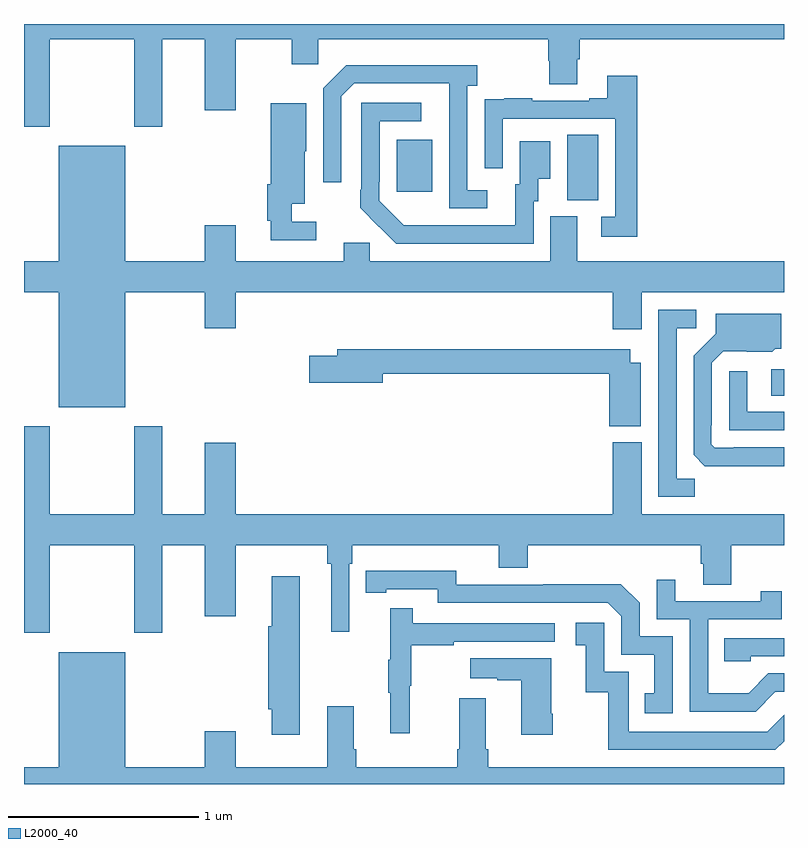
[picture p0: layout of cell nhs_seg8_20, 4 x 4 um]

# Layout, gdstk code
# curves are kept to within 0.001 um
import gdstk
lib = gdstk.Library(unit=1e-6, precision=1e-09)
def R(c, l, rs):  # rectangles x0, y0, x1, y1
    for r in rs: c.add(gdstk.rectangle(r[:2], r[2:], *l))
def P(c, l, *ps):  # polygons
    for p in ps: c.add(gdstk.Polygon(p, *l))
L2000_40 = (2000, 40)

nhs_seg8_20 = lib.new_cell('nhs_seg8_20')
R(nhs_seg8_20, L2000_40, [(114.933,1127.944,115,1128.084), (113.858,1128.973,114.022,1129.316), (112.961,1129.017,113.149,1129.291)])
P(nhs_seg8_20, L2000_40, [(111.135,1129.82),(111.58,1129.82),(111.58,1129.359),(111.727,1129.359),(111.727,1129.82),(111.95,1129.82),(111.95,1129.446),(112.114,1129.446),(112.114,1129.82),(112.409,1129.82),(112.409,1129.689),(112.548,1129.689),(112.548,1129.82),(113.759,1129.82),(113.759,1129.707),(113.764,1129.707),(113.764,1129.582),(113.911,1129.582),(113.911,1129.714),(113.924,1129.714),(113.924,1129.82),(115,1129.82),(115,1129.9),(111,1129.9),(111,1129.359),(111.135,1129.359)],
  [(113.437,1129.026),(113.334,1129.026),(113.334,1129.574),(113.386,1129.574),(113.386,1129.684),(112.696,1129.684),(112.575,1129.563),(112.575,1129.068),(112.671,1129.068),(112.671,1129.521),(112.737,1129.587),(113.237,1129.587),(113.238,1128.93),(113.437,1128.93)],
  [(114.227,1129.627),(114.071,1129.627),(114.071,1129.51),(113.975,1129.51),(113.975,1129.497),(113.675,1129.497),(113.675,1129.51),(113.527,1129.51),(113.527,1129.503),(113.425,1129.503),(113.425,1129.394),(113.424,1129.394),(113.424,1129.14),(113.52,1129.14),(113.52,1129.401),(114.111,1129.401),(114.111,1128.885),(114.039,1128.885),(114.039,1128.78),(114.227,1128.78)],
  [(113.682,1128.966),(113.707,1128.966),(113.707,1129.085),(113.77,1129.085),(113.77,1129.282),(113.609,1129.282),(113.609,1129.056),(113.585,1129.056),(113.585,1128.84),(112.998,1128.841),(112.869,1128.969),(112.869,1129.069),(112.872,1129.069),(112.872,1129.389),(113.092,1129.389),(113.092,1129.485),(112.776,1129.485),(112.776,1129.027),(112.769,1129.027),(112.769,1128.932),(112.866,1128.834),(112.867,1128.835),(112.958,1128.744),(113.682,1128.744)],
  [(112.537,1128.858),(112.408,1128.858),(112.408,1128.953),(112.477,1128.953),(112.477,1129.23),(112.486,1129.23),(112.486,1129.483),(112.298,1129.483),(112.298,1129.057),(112.279,1129.057),(112.279,1128.865),(112.298,1128.865),(112.298,1128.762),(112.537,1128.762)],
  [(111.532,1128.488),(111.95,1128.488),(111.95,1128.3),(112.114,1128.3),(112.114,1128.488),(114.098,1128.488),(114.098,1128.294),(114.25,1128.294),(114.25,1128.488),(115,1128.488),(115,1128.652),(113.911,1128.652),(113.911,1128.888),(113.771,1128.888),(113.771,1128.652),(112.821,1128.652),(112.821,1128.75),(112.682,1128.75),(112.682,1128.652),(112.114,1128.652),(112.114,1128.841),(111.95,1128.841),(111.95,1128.652),(111.532,1128.652),(111.532,1129.258),(111.182,1129.258),(111.182,1128.652),(111,1128.652),(111,1128.488),(111.182,1128.488),(111.182,1127.882),(111.532,1127.882)],
  [(114.531,1127.507),(114.435,1127.507),(114.435,1128.3),(114.538,1128.3),(114.538,1128.396),(114.339,1128.396),(114.339,1127.412),(114.531,1127.412)],
  [(115,1127.673),(114.736,1127.673),(114.736,1127.67),(114.636,1127.67),(114.618,1127.688),(114.618,1127.788),(114.621,1127.788),(114.621,1128.117),(114.681,1128.177),(114.938,1128.176),(114.954,1128.192),(114.985,1128.192),(114.985,1128.376),(114.641,1128.376),(114.641,1128.27),(114.525,1128.154),(114.525,1127.632),(114.584,1127.573),(115,1127.572)],
  [(114.247,1128.118),(114.19,1128.118),(114.19,1128.187),(112.649,1128.187),(112.649,1128.153),(112.5,1128.153),(112.5,1128.011),(112.888,1128.011),(112.888,1128.058),(114.08,1128.058),(114.08,1127.783),(114.247,1127.783)],
  [(115,1127.859),(114.807,1127.859),(114.807,1128.073),(114.711,1128.073),(114.711,1127.763),(115,1127.763)],
  [(111.135,1127.156),(111.58,1127.156),(111.58,1126.695),(111.727,1126.695),(111.727,1127.156),(111.95,1127.156),(111.95,1126.782),(112.114,1126.782),(112.114,1127.156),(112.597,1127.156),(112.597,1127.06),(112.616,1127.06),(112.616,1126.701),(112.713,1126.701),(112.713,1127.06),(112.727,1127.06),(112.727,1127.156),(113.498,1127.156),(113.498,1127.039),(113.651,1127.039),(113.651,1127.156),(114.563,1127.156),(114.563,1127.058),(114.575,1127.058),(114.575,1126.948),(114.723,1126.948),(114.723,1127.156),(115,1127.156),(115,1127.32),(114.25,1127.32),(114.25,1127.698),(114.098,1127.698),(114.098,1127.32),(112.114,1127.32),(112.114,1127.695),(111.95,1127.695),(111.95,1127.32),(111.727,1127.32),(111.727,1127.782),(111.58,1127.782),(111.58,1127.32),(111.135,1127.32),(111.135,1127.782),(111,1127.782),(111,1126.695),(111.135,1126.695)],
  [(114.414,1126.677),(114.24,1126.677),(114.24,1126.854),(114.142,1126.952),(113.734,1126.952),(113.734,1126.95),(113.274,1126.95),(113.274,1127.023),(112.798,1127.022),(112.798,1126.906),(112.906,1126.906),(112.906,1126.926),(113.178,1126.926),(113.178,1126.854),(114.072,1126.854),(114.144,1126.782),(114.144,1126.581),(114.317,1126.581),(114.317,1126.377),(114.268,1126.377),(114.268,1126.272),(114.414,1126.272)],
  [(112.45,1126.993),(112.304,1126.993),(112.304,1126.729),(112.286,1126.729),(112.286,1126.293),(112.304,1126.293),(112.304,1126.158),(112.45,1126.158)],
  [(114.955,1126.386),(115,1126.386),(115,1126.482),(114.918,1126.482),(114.814,1126.378),(114.6,1126.378),(114.6,1126.767),(114.989,1126.767),(114.989,1126.915),(114.878,1126.915),(114.878,1126.863),(114.427,1126.863),(114.427,1126.975),(114.33,1126.975),(114.33,1126.767),(114.504,1126.767),(114.504,1126.281),(114.85,1126.281)],
  [(113.03,1126.416),(113.038,1126.416),(113.038,1126.63),(113.261,1126.63),(113.261,1126.65),(113.794,1126.65),(113.794,1126.746),(113.045,1126.746),(113.045,1126.825),(112.928,1126.825),(112.928,1126.553),(112.917,1126.553),(112.917,1126.379),(112.928,1126.379),(112.928,1126.167),(113.03,1126.167)],
  [(115,1126.126),(115,1126.264),(114.912,1126.176),(114.183,1126.176),(114.183,1126.491),(114.054,1126.491),(114.054,1126.75),(113.904,1126.75),(113.904,1126.629),(113.957,1126.629),(113.957,1126.383),(114.075,1126.383),(114.075,1126.08),(114.954,1126.08)],
  [(114.825,1126.572),(115,1126.572),(115,1126.668),(114.685,1126.668),(114.685,1126.545),(114.825,1126.545)],
  [(115,1125.988),(113.444,1125.988),(113.444,1126.084),(113.431,1126.084),(113.431,1126.351),(113.291,1126.351),(113.291,1126.084),(113.279,1126.084),(113.279,1125.988),(112.748,1125.988),(112.748,1126.084),(112.735,1126.084),(112.735,1126.309),(112.595,1126.309),(112.595,1125.988),(112.114,1125.988),(112.114,1126.177),(111.95,1126.177),(111.95,1125.988),(111.532,1125.988),(111.532,1126.594),(111.182,1126.594),(111.182,1125.988),(111,1125.988),(111,1125.9),(115,1125.9)],
  [(113.784,1126.27),(113.776,1126.27),(113.776,1126.561),(113.349,1126.561),(113.349,1126.457),(113.492,1126.457),(113.492,1126.447),(113.618,1126.447),(113.618,1126.158),(113.784,1126.158)])

lib.write_gds('nhs_seg8_20.gds')
